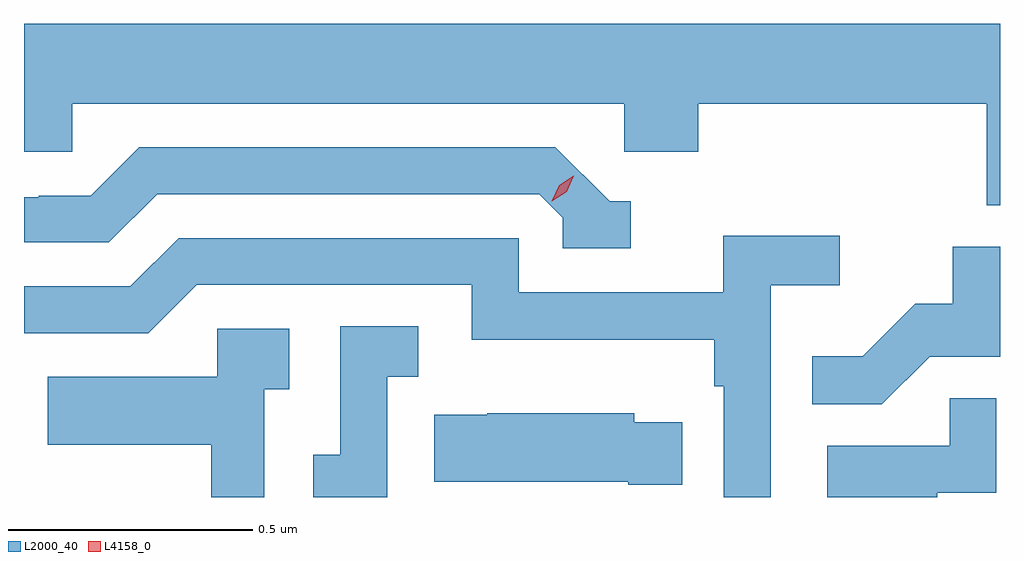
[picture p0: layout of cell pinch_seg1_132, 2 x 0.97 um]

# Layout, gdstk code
import gdstk
lib = gdstk.Library(unit=1e-6, precision=1e-09)
def P(c, l, *ps):  # polygons
    for p in ps: c.add(gdstk.Polygon(p, *l))
L2000_40 = (2000, 40)
L4158_0 = (4158, 0)

pinch_seg1_132 = lib.new_cell('pinch_seg1_132')
P(pinch_seg1_132, L2000_40, [(1030.628,546.568),(1028.628,546.568),(1028.628,546.306),(1028.727,546.306),(1028.727,546.404),(1029.858,546.404),(1029.858,546.306),(1030.01,546.306),(1030.01,546.404),(1030.601,546.404),(1030.601,546.196),(1030.628,546.196)],
  [(1029.871,546.204),(1029.828,546.204),(1029.717,546.315),(1028.864,546.315),(1028.765,546.216),(1028.658,546.216),(1028.658,546.213),(1028.628,546.213),(1028.628,546.12),(1028.802,546.12),(1028.901,546.219),(1029.684,546.219),(1029.732,546.171),(1029.732,546.108),(1029.871,546.108)],
  [(1030.158,546.032),(1030.3,546.032),(1030.3,546.134),(1030.061,546.134),(1030.061,546.018),(1029.642,546.018),(1029.642,546.129),(1028.945,546.129),(1028.846,546.03),(1028.628,546.03),(1028.628,545.934),(1028.883,545.934),(1028.982,546.033),(1029.546,546.033),(1029.546,545.921),(1030.042,545.921),(1030.042,545.825),(1030.062,545.825),(1030.062,545.598),(1030.158,545.598)],
  [(1030.484,545.886),(1030.628,545.886),(1030.628,546.111),(1030.531,546.111),(1030.531,545.994),(1030.454,545.994),(1030.347,545.887),(1030.243,545.887),(1030.243,545.788),(1030.386,545.788)],
  [(1029.372,545.845),(1029.436,545.845),(1029.436,545.948),(1029.276,545.948),(1029.276,545.685),(1029.221,545.685),(1029.221,545.598),(1029.372,545.598)],
  [(1029.12,545.819),(1029.172,545.819),(1029.172,545.943),(1029.024,545.943),(1029.024,545.845),(1028.677,545.845),(1028.677,545.705),(1029.012,545.705),(1029.012,545.598),(1029.12,545.598)],
  [(1030.499,545.607),(1030.62,545.607),(1030.62,545.801),(1030.525,545.801),(1030.525,545.703),(1030.274,545.703),(1030.274,545.598),(1030.499,545.598)],
  [(1029.977,545.752),(1029.879,545.752),(1029.879,545.77),(1029.577,545.77),(1029.577,545.767),(1029.469,545.767),(1029.469,545.63),(1029.866,545.63),(1029.866,545.623),(1029.977,545.623)])
P(pinch_seg1_132, L4158_0, [(1029.709,546.204),(1029.709,546.204),(1029.725,546.237),(1029.755,546.257),(1029.755,546.257),(1029.755,546.257),(1029.74,546.224),(1029.709,546.204)])

lib.write_gds('pinch_seg1_132.gds')
